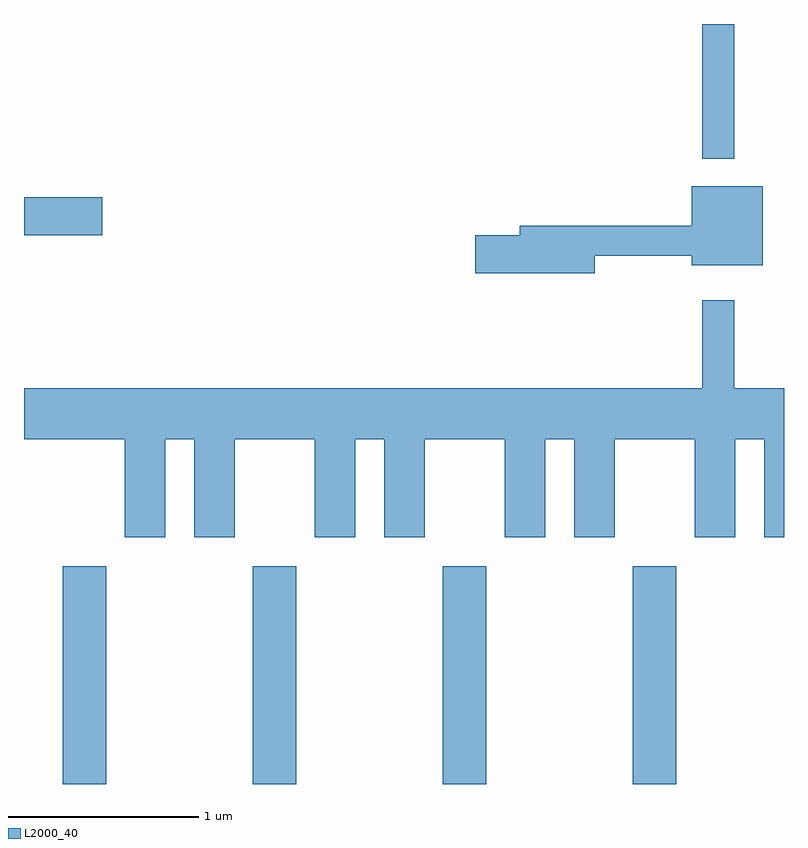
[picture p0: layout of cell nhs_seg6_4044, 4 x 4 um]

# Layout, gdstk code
import gdstk
lib = gdstk.Library(unit=1e-6, precision=1e-09)
def R(c, l, rs):  # rectangles x0, y0, x1, y1
    for r in rs: c.add(gdstk.rectangle(r[:2], r[2:], *l))
def A(c, l, x, y, w, h, nx, ny, dx, dy):  # array of equal rectangles
    R(c, l, [(x+i*dx, y+j*dy, x+i*dx+w, y+j*dy+h) for i in range(nx) for j in range(ny)])
def P(c, l, *ps):  # polygons
    for p in ps: c.add(gdstk.Polygon(p, *l))
L2000_40 = (2000, 40)

nhs_seg6_4044 = lib.new_cell('nhs_seg6_4044')
A(nhs_seg6_4044, L2000_40, 307.816, 1608.162, 0.228, 1.147, 4, 1, 1, 0)
R(nhs_seg6_4044, L2000_40, [(307.611,1611.051,308.024,1611.249), (311.181,1611.453,311.349,1612.162)])
P(nhs_seg6_4044, L2000_40, [(310.614,1610.941),(311.126,1610.941),(311.126,1610.891),(311.499,1610.891),(311.499,1611.309),(311.126,1611.309),(311.126,1611.099),(310.221,1611.099),(310.221,1611.049),(309.986,1611.049),(309.986,1610.851),(310.614,1610.851)],
  [(308.354,1609.976),(308.506,1609.976),(308.506,1609.461),(308.719,1609.461),(308.719,1609.976),(309.141,1609.976),(309.141,1609.461),(309.354,1609.461),(309.354,1609.976),(309.506,1609.976),(309.506,1609.461),(309.719,1609.461),(309.719,1609.976),(310.141,1609.976),(310.141,1609.461),(310.354,1609.461),(310.354,1609.976),(310.506,1609.976),(310.506,1609.461),(310.719,1609.461),(310.719,1609.976),(311.141,1609.976),(311.141,1609.461),(311.354,1609.461),(311.354,1609.976),(311.506,1609.976),(311.506,1609.461),(311.611,1609.461),(311.611,1610.244),(311.349,1610.244),(311.349,1610.708),(311.181,1610.708),(311.181,1610.244),(307.611,1610.244),(307.611,1609.976),(308.141,1609.976),(308.141,1609.461),(308.354,1609.461)])

lib.write_gds('nhs_seg6_4044.gds')
